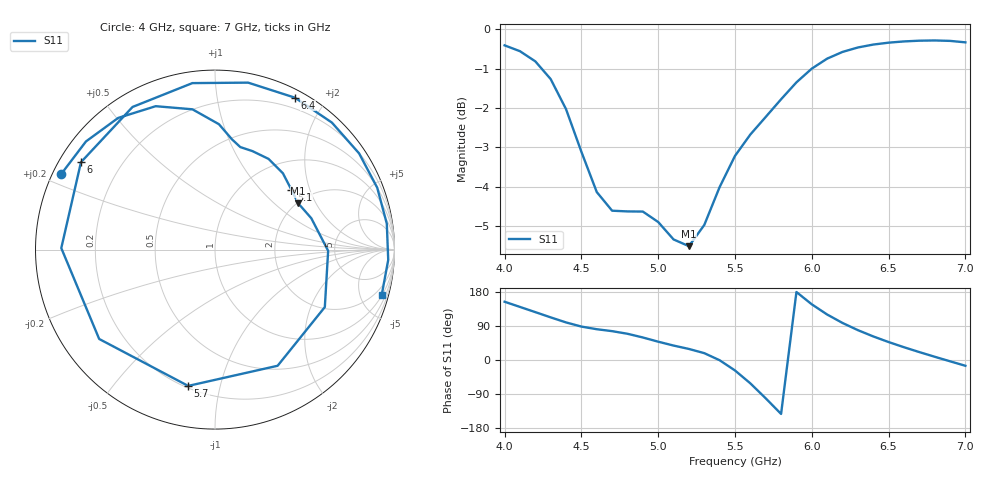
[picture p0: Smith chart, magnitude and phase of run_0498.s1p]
! Touchstone file exported from HFSS 2024.2.0
!  File:  C:/Users/wsak9/Desktop/Sim Fast/Widenad Patch/WP_AI_V1_sweep.aedt
!  Generated:  12:57:08 PM Oct 14, 2026
!  Design:  A1_model
!  Project:  WP_AI_V1_sweep
!  Setup:  Setup1
!  Solution:  Sweep
! Variables:
!  Air_gap = 3.31mm
!  Curve_Amp1 = 2.28
!  Curve_len1 = 1
!  Curve_pos = 11.735mm
!  Extra = 4.69mm
!  H_sub = 0.79mm
!  L_Patch = 19.47mm
!  L_Patch1 = 19.08mm
!  Sx = 4.45mm
!  Sy = 4.39mm
!  WS = 0.63mm
!  W_Patch = 19.61mm
!  W_Patch1 = 14.39mm
!Data is not renormalized
# GHz S MA
! Terminal data exported
! Port[1] = 1
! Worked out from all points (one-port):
!   31 points, 4 GHz to 7 GHz, reference per port
!   lowest |S11| = -5.5 dB at 5.2 GHz (marker M1), VSWR 3.26
!   |S11| at or under -10 dB: nowhere
!   S11 on the Smith chart (normalised r, x): 4 GHz: 0.02, +0.23; 5.1 GHz: 1.60, +1.51; 5.7 GHz: 0.21, -0.80; 6 GHz: 0.06, +0.30; 6.4 GHz: 0.08, +1.65; 7 GHz: 1.06, -7.31
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4  0.9543 153.7
4.1  0.9381 140.0
4.2  0.9106 126.3
4.3  0.8646 112.5
4.4  0.7917 99.1
4.5  0.6989 88.2
4.6  0.6213 81.2
4.8  0.5871 69.2
4.9  0.5868 59.4
5.1  0.5409 38.1
5.2  0.5303 29.2
5.3  0.5643 18.0
5.4  0.6304 -0.6
5.5  0.6907 -27.6
5.6  0.7353 -61.7
5.7  0.774 -101.1
5.8  0.815 -142.3
5.9  0.8564 179.4
6  0.8915 146.9
6.1  0.9179 120.0
6.2  0.9361 97.7
6.3  0.9484 78.8
6.4  0.9565 62.2
6.5  0.9618 47.4
6.6  0.9653 33.7
6.7  0.9674 20.9
6.8  0.9681 8.6
7  0.9627 -15.3
